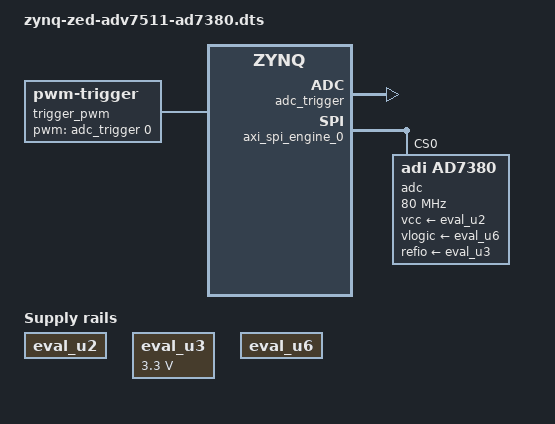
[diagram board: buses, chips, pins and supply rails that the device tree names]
// SPDX-License-Identifier: GPL-2.0
/*
 * Analog Devices AD7380
 * https://www.analog.com/media/en/technical-documentation/data-sheets/AD7380-7381.pdf
 * https://www.analog.com/media/en/technical-documentation/user-guides/eval-ad7380fmcz-7381fmcz-ug-1304.pdf
 * https://wiki.analog.com/resources/tools-software/linux-drivers/iio-adc/ad738x
 * https://wiki.analog.com/resources/eval/user-guides/ad738x
 * http://analogdevicesinc.github.io/hdl/projects/ad738x_fmc/index.html
 *
 * hdl_project: <ad738x_fmc/zed>
 * board_revision: <>
 *
 * Copyright (C) 2024 Analog Devices Inc.
 */
/dts-v1/;

#include <dt-bindings/gpio/gpio.h>
#include <dt-bindings/interrupt-controller/irq.h>

#include "zynq-zed.dtsi"
#include "zynq-zed-adv7511.dtsi"

/ {
	eval_u2: eval-board-u2-regulator {
		compatible = "regulator-fixed";
		regulator-name = "EVAL +3.3V supply (U2)";
		regulator-always-on;
	};

	eval_u3: eval-board-u3-regulator {
		compatible = "regulator-fixed";
		regulator-name = "EVAL +3.3V supply (U3)";
		regulator-min-microvolt = <3300000>;
		regulator-max-microvolt = <3300000>;
		regulator-always-on;
	};

	eval_u6: eval-board-u6-regulator {
		compatible = "regulator-fixed";
		regulator-name = "EVAL +2.3V supply (U6)";
		regulator-always-on;
	};

	trigger_pwm: adc-pwm-trigger {
		compatible = "pwm-trigger";
		#trigger-source-cells = <0>;
		pwms = <&adc_trigger 0 10000 0>;
	};
};

&fpga_axi {

	/*
	 * clkc 15 = peripheral fclk0 (fpga clock 0)
	 * clkc 16 = peripheral fclk1 (fpga clock 1)
	 */

	adc_trigger: pwm@44b00000 {
		compatible = "adi,axi-pwmgen-2.00.a";
		reg = <0x44b00000 0x1000>;
		label = "adc_conversion_trigger";
		#pwm-cells = <3>;
		clocks = <&clkc 15>, <&spi_clk>;
		clock-names = "axi", "ext";
	};

	spi_clk: clock-controller@44a70000 {
		compatible = "adi,axi-clkgen-2.00.a";
		reg = <0x44a70000 0x1000>;
		#clock-cells = <0>;
		clocks = <&clkc 15>, <&clkc 15>;
		clock-names = "clkin1", "s_axi_aclk";
		clock-output-names = "spi_clk";
		assigned-clocks = <&spi_clk>;
		assigned-clock-rates = <160000000>;
	};

	rx_dma: dma-controller@44a30000 {
		compatible = "adi,axi-dmac-1.00.a";
		reg = <0x44a30000 0x1000>;
		#dma-cells = <1>;
		interrupts = <0 57 IRQ_TYPE_LEVEL_HIGH>;
		clocks = <&clkc 15>;
	};

	axi_spi_engine_0: spi@44a00000 {
		compatible = "adi,axi-spi-engine-1.00.a";
		reg = <0x44a00000 0x1000>;
		interrupt-parent = <&intc>;
		interrupts = <0 56 IRQ_TYPE_LEVEL_HIGH>;
		clocks = <&clkc 15>, <&spi_clk>;
		clock-names = "s_axi_aclk", "spi_clk";

		dmas = <&rx_dma 0>;
		dma-names = "offload0-rx";
		trigger-sources = <&trigger_pwm>;

		#address-cells = <1>;
		#size-cells = <0>;

		adc@0 {
			compatible = "adi,ad7380";
			reg = <0>;

			spi-cpol;
			spi-max-frequency = <80000000>;

			/*
			 * ADI tree extension (not mainline). Set this based on
			 * HDL NUM_OF_SDI compile argument. Can omit if =1.
			 */
			adi,num-sdi = <2>;

			/* Not currently used by the driver. */
			// interrupts = <86 IRQ_TYPE_EDGE_FALLING>;
			// interrupt-parent = <&gpio0>;

			vcc-supply = <&eval_u2>;
			vlogic-supply = <&eval_u6>;
			refio-supply = <&eval_u3>;
		};
	};
};
